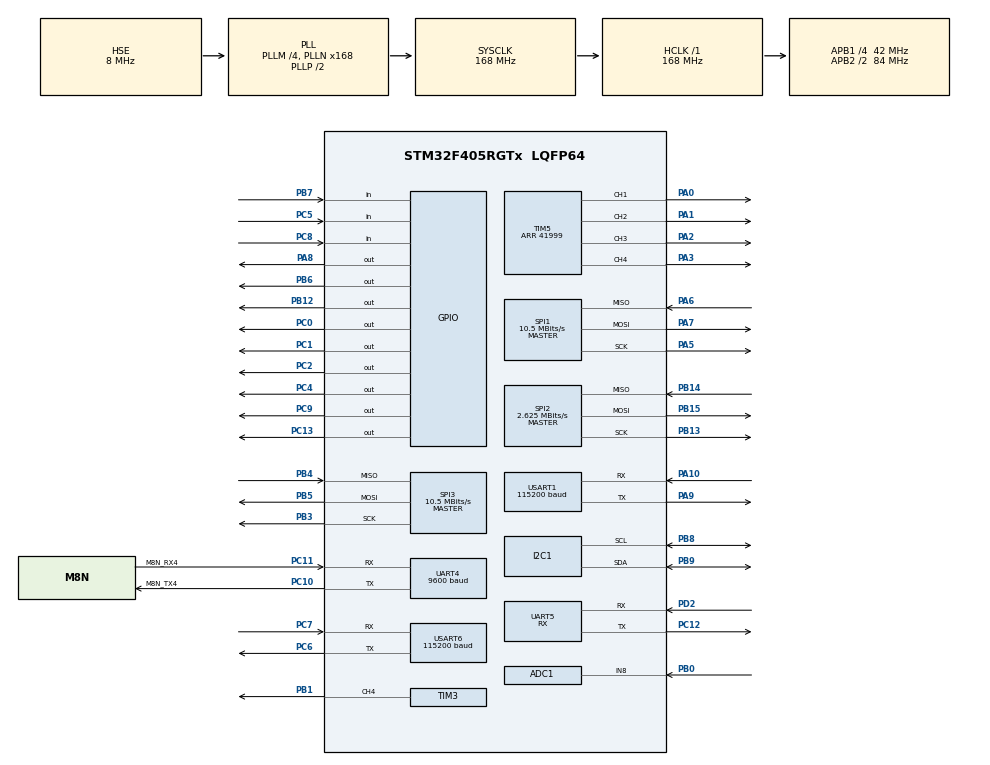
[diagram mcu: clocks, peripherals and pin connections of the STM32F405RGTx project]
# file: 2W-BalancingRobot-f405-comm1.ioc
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ADC1.Channel-0\#ChannelRegularConversion=ADC_CHANNEL_8
ADC1.ClockPrescaler=ADC_CLOCK_SYNC_PCLK_DIV8
ADC1.ContinuousConvMode=ENABLE
ADC1.DMAContinuousRequests=ENABLE
ADC1.NbrOfConversionFlag=1
ADC1.Rank-0\#ChannelRegularConversion=1
ADC1.SamplingTime-0\#ChannelRegularConversion=ADC_SAMPLETIME_480CYCLES
ADC1.master=1
Dma.ADC1.0.Direction=DMA_PERIPH_TO_MEMORY
Dma.ADC1.0.FIFOMode=DMA_FIFOMODE_DISABLE
Dma.ADC1.0.Instance=DMA2_Stream0
Dma.ADC1.0.MemDataAlignment=DMA_MDATAALIGN_HALFWORD
Dma.ADC1.0.MemInc=DMA_MINC_DISABLE
Dma.ADC1.0.Mode=DMA_CIRCULAR
Dma.ADC1.0.PeriphDataAlignment=DMA_PDATAALIGN_HALFWORD
Dma.ADC1.0.PeriphInc=DMA_PINC_DISABLE
Dma.ADC1.0.Priority=DMA_PRIORITY_LOW
Dma.Request0=ADC1
I2C1.I2C_Mode=I2C_Fast
Mcu.Family=STM32F4
Mcu.Name=STM32F405RGTx
Mcu.Package=LQFP64
NVIC.DMA2_Stream0_IRQn=true\:0\:0\:false\:false\:true\:false\:true
NVIC.PriorityGroup=NVIC_PRIORITYGROUP_4
NVIC.TIM7_IRQn=true\:0\:0\:false\:false\:true\:true\:true
NVIC.UART4_IRQn=true\:0\:0\:false\:false\:true\:true\:true
NVIC.UART5_IRQn=true\:0\:0\:false\:false\:true\:true\:true
NVIC.USART1_IRQn=true\:0\:0\:false\:false\:true\:true\:true
NVIC.USART6_IRQn=true\:0\:0\:false\:false\:true\:true\:true
PA0-WKUP.Signal=S_TIM5_CH1
PA1.Signal=S_TIM5_CH2
PA10.Mode=Asynchronous
PA10.Signal=USART1_RX
PA2.Signal=S_TIM5_CH3
PA3.Signal=S_TIM5_CH4
PA5.Mode=Full_Duplex_Master
PA5.Signal=SPI1_SCK
PA6.Mode=Full_Duplex_Master
PA6.Signal=SPI1_MISO
PA7.Mode=Full_Duplex_Master
PA7.Signal=SPI1_MOSI
PA8.Signal=GPIO_Output
PA9.Mode=Asynchronous
PA9.Signal=USART1_TX
PB0.Signal=ADCx_IN8
PB1.Signal=S_TIM3_CH4
PB12.Signal=GPIO_Output
PB13.Mode=Full_Duplex_Master
PB13.Signal=SPI2_SCK
PB14.Mode=Full_Duplex_Master
PB14.Signal=SPI2_MISO
PB15.Mode=Full_Duplex_Master
PB15.Signal=SPI2_MOSI
PB3.Mode=Full_Duplex_Master
PB3.Signal=SPI3_SCK
PB4.Mode=Full_Duplex_Master
PB4.Signal=SPI3_MISO
PB5.Mode=Full_Duplex_Master
PB5.Signal=SPI3_MOSI
PB6.Signal=GPIO_Output
PB7.Signal=GPIO_Input
PB8.Mode=I2C
PB8.Signal=I2C1_SCL
PB9.Mode=I2C
PB9.Signal=I2C1_SDA
PC0.Signal=GPIO_Output
PC1.Signal=GPIO_Output
PC10.GPIO_Label=M8N_TX4
PC10.Mode=Asynchronous
PC10.Signal=UART4_TX
PC11.GPIO_Label=M8N_RX4
PC11.Mode=Asynchronous
PC11.Signal=UART4_RX
PC12.Mode=Asynchronous
PC12.Signal=UART5_TX
PC13-ANTI_TAMP.PinState=GPIO_PIN_SET
PC13-ANTI_TAMP.Signal=GPIO_Output
PC2.Signal=GPIO_Output
PC4.Signal=GPIO_Output
PC5.Signal=GPIO_Input
PC6.Mode=Asynchronous
PC6.Signal=USART6_TX
PC7.Mode=Asynchronous
PC7.Signal=USART6_RX
PC8.Signal=GPIO_Input
PC9.Signal=GPIO_Output
PD2.Mode=Asynchronous
PD2.Signal=UART5_RX
PH0-OSC_IN.Mode=HSE-External-Oscillator
PH0-OSC_IN.Signal=RCC_OSC_IN
PH1-OSC_OUT.Mode=HSE-External-Oscillator
PH1-OSC_OUT.Signal=RCC_OSC_OUT
ProjectManager.HeapSize=0x200
ProjectManager.StackSize=0x400
ProjectManager.TargetToolchain=STM32CubeIDE
RCC.48MHZClocksFreq_Value=84000000
RCC.AHBFreq_Value=168000000
RCC.APB1CLKDivider=RCC_HCLK_DIV4
RCC.APB1Freq_Value=42000000
RCC.APB1TimFreq_Value=84000000
RCC.APB2CLKDivider=RCC_HCLK_DIV2
RCC.APB2Freq_Value=84000000
RCC.APB2TimFreq_Value=168000000
RCC.CortexFreq_Value=168000000
RCC.HCLKFreq_Value=168000000
RCC.HSE_VALUE=8000000
RCC.HSI_VALUE=16000000
RCC.LSE_VALUE=32768
RCC.PLLM=4
RCC.PLLN=168
RCC.PLLSourceVirtual=RCC_PLLSOURCE_HSE
RCC.SYSCLKFreq_VALUE=168000000
RCC.SYSCLKSource=RCC_SYSCLKSOURCE_PLLCLK
RCC.VCOOutputFreq_Value=336000000
SH.ADCx_IN8.0=ADC1_IN8,IN8
SH.S_TIM3_CH4.0=TIM3_CH4,PWM Generation4 CH4
SH.S_TIM5_CH1.0=TIM5_CH1,PWM Generation1 CH1
SH.S_TIM5_CH2.0=TIM5_CH2,PWM Generation2 CH2
SH.S_TIM5_CH3.0=TIM5_CH3,PWM Generation3 CH3
SH.S_TIM5_CH4.0=TIM5_CH4,PWM Generation4 CH4
SPI1.BaudRatePrescaler=SPI_BAUDRATEPRESCALER_8
SPI1.CLKPhase=SPI_PHASE_2EDGE
SPI1.CLKPolarity=SPI_POLARITY_HIGH
SPI1.CalculateBaudRate=10.5 MBits/s
SPI1.Direction=SPI_DIRECTION_2LINES
SPI1.Mode=SPI_MODE_MASTER
SPI1.VirtualType=VM_MASTER
SPI2.BaudRatePrescaler=SPI_BAUDRATEPRESCALER_16
SPI2.CLKPhase=SPI_PHASE_2EDGE
SPI2.CLKPolarity=SPI_POLARITY_HIGH
SPI2.CalculateBaudRate=2.625 MBits/s
SPI2.Direction=SPI_DIRECTION_2LINES
SPI2.Mode=SPI_MODE_MASTER
SPI2.VirtualType=VM_MASTER
SPI3.BaudRatePrescaler=SPI_BAUDRATEPRESCALER_4
SPI3.CLKPhase=SPI_PHASE_2EDGE
SPI3.CLKPolarity=SPI_POLARITY_HIGH
SPI3.CalculateBaudRate=10.5 MBits/s
SPI3.Direction=SPI_DIRECTION_2LINES
SPI3.Mode=SPI_MODE_MASTER
SPI3.VirtualType=VM_MASTER
TIM3.AutoReloadPreload=TIM_AUTORELOAD_PRELOAD_ENABLE
TIM3.Channel-PWM\ Generation4\ CH4=TIM_CHANNEL_4
TIM3.OCFastMode_PWM-PWM\ Generation4\ CH4=TIM_OCFAST_ENABLE
TIM3.Period=20
TIM3.Prescaler=999
TIM3.Pulse-PWM\ Generation4\ CH4=10
TIM5.AutoReloadPreload=TIM_AUTORELOAD_PRELOAD_ENABLE
TIM5.Channel-PWM\ Generation1\ CH1=TIM_CHANNEL_1
TIM5.Channel-PWM\ Generation2\ CH2=TIM_CHANNEL_2
TIM5.Channel-PWM\ Generation3\ CH3=TIM_CHANNEL_3
TIM5.Channel-PWM\ Generation4\ CH4=TIM_CHANNEL_4
TIM5.OCFastMode_PWM-PWM\ Generation1\ CH1=TIM_OCFAST_ENABLE
TIM5.OCFastMode_PWM-PWM\ Generation2\ CH2=TIM_OCFAST_ENABLE
TIM5.OCFastMode_PWM-PWM\ Generation3\ CH3=TIM_OCFAST_ENABLE
TIM5.OCFastMode_PWM-PWM\ Generation4\ CH4=TIM_OCFAST_ENABLE
TIM5.Period=41999
TIM5.Pulse-PWM\ Generation1\ CH1=0
TIM5.Pulse-PWM\ Generation2\ CH2=0
TIM5.Pulse-PWM\ Generation3\ CH3=0
TIM7.AutoReloadPreload=TIM_AUTORELOAD_PRELOAD_ENABLE
TIM7.Period=1
TIM7.Prescaler=41999
UART4.BaudRate=9600
UART4.VirtualMode=Asynchronous
UART5.Mode=MODE_RX
UART5.VirtualMode=Asynchronous
USART1.BaudRate=115200
USART1.VirtualMode=VM_ASYNC
USART6.BaudRate=115200
USART6.VirtualMode=VM_ASYNC
VP_TIM3_VS_ClockSourceINT.Mode=Internal
VP_TIM5_VS_ClockSourceINT.Mode=Internal
VP_TIM7_VS_ClockSourceINT.Mode=Enable_Timer
board=custom

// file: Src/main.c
/* USER CODE BEGIN Header */
/**
  ******************************************************************************
  * @file           : main.c
  * @brief          : Main program body
  ******************************************************************************
  * @attention
  *
  * <h2><center>&copy; Copyright (c) 2019 STMicroelectronics.
  * All rights reserved.</center></h2>
  *
  * This software component is licensed by ST under BSD 3-Clause license,
  * the "License"; You may not use this file except in compliance with the
  * License. You may obtain a copy of the License at:
  *                        opensource.org/licenses/BSD-3-Clause
  *
  ******************************************************************************
  */
/* USER CODE END Header */

#include "main.h"
#include "adc.h"
#include "dma.h"
#include "i2c.h"
#include "spi.h"
#include "tim.h"
#include "usart.h"
#include "gpio.h"

/* USER CODE BEGIN Includes */
#include <string.h>
#include "bno080.h"
#include "quaternion.h"
#include "ICM20602.h"
//#include "LPS22HH.h"
//#include "M8N.h"
#include "FS-iA6B.h"
//#include "AT24C08.h"
#include "EEPROM.h"
#include "MSP.h"
#include "IMU.h"
#include "Sensors.h"

/* USER CODE END Includes */

/* USER CODE BEGIN PTD */
int _write(int file, uint8_t* p, int len)
{
//	for (int i=0; i < len; i++)
//	{
//		while(!LL_USART_IsActiveFlag_TXE(USART6));
//		LL_USART_TransmitData8(USART6, *(p+i));
//	};

	HAL_UART_Transmit(&huart6, p, len, 10);
	return len;
}
/* USER CODE END PTD */

/* USER CODE BEGIN PV */
//uint8_t uart2_rx_data;
uint8_t msp_rx_buf[TX_BUFFER_SIZE];
uint8_t msp_rx_cplt_flag;

uint8_t msp_tx_buf[TX_BUFFER_SIZE];
uint8_t msp_tx_buf1[TX_BUFFER_SIZE];
uint8_t msp_tx_size = 0;
uint8_t msp_tx_cplt_flag = 0;

uint8_t g_msp_tx_buf[TX_BUFFER_SIZE];
uint8_t g_msp_tx_size = 0;
uint8_t g_msp_tx_cplt_flag = 0;

uint8_t inBuf[INBUF_SIZE];
//uint8_t checksum;
uint8_t indRX;
uint8_t cmdMSP;

uint16_t recvDelayCnt=0;
uint16_t sendDelayCnt=0;

uint8_t uart6_tx_flag = 0;

extern uint8_t uart6_rx_flag;
extern uint8_t uart6_rx_data;

extern uint8_t m8n_rx_buf[36];
extern uint8_t m8n_rx_cplt_flag;

extern uint8_t ibus_rx_buf[32];
extern uint8_t ibus_rx_flag;

extern uint8_t uart1_rx_data;

extern uint8_t tim7_1ms_flag;
extern uint8_t tim7_20ms_flag;

float pitch_in_kp;
float pitch_in_ki;
float pitch_in_kd;

float pitch_out_kp = 0;
float pitch_out_ki = 0;
float pitch_out_kd = 0;

/* USER CODE END PV */

void SystemClock_Config(void);
/* USER CODE BEGIN PFP */
void annexCode(void);
int Is_iBus_Throttle_Min(void);
void ESC_Calibration(void);
int Is_iBus_Received(void);
void BNO080_Calibration(void);
/* USER CODE END PFP */

/* USER CODE BEGIN 0 */
/*********** RC alias *****************/

const char pidnames[] =
  "SPEED;"
  "ANGLE;"
  //"YAW;"
  "ALT;"
  "Pos;"
  "PosR;"
  "NavR;"
  //"LEVEL;"
  "MAG;"
  "VEL;"
;

const char boxnames[] = // names for dynamic generation of config GUI
  "ARM;"
  #if ACC
    "SIMPLE;"
    "RISE;"
    "POS HOLD;"
  #endif
  #if defined(BUZZER)
    "BEEPER;"
  #endif
;

const uint8_t boxids[] = {// permanent IDs associated to boxes. This way, you can rely on an ID number to identify a BOX function.
  0, //"ARM;"
  #if ACC
    1, //"SIMPLE;"
    2, //"RISE;"
    3, //"POS HOLD;"
  #endif
  #if defined(BUZZER)
    13, //"BEEPER;"
  #endif
};

uint8_t cmdMSP_tbl1[8] = {100, 116, 111, 112, 115, 113, 114, 120};
uint8_t cmdMSP_tbl2[8] = {101, 102, 103, 104, 105, 254, 108, 109};
uint8_t cmd_index = 0;
uint8_t first_com_flag = 1;

uint8_t DRIVER_PIN[5] = {5,6,7,8,4};   //STEP1 (PORTD 5), STEP2 (PORTD 6), DIR1 (PORTD 7), DIR2 (PORTB 0), ENABLE

uint32_t currentTime = 0;
uint16_t previousTime = 0;
uint16_t cycleTime = 0;     // this is the number in micro second to achieve a full loop, it can differ a little and is taken into account in the PID loop
uint16_t calibratingA = 0;  // the calibration is done in the main loop. Calibrating decreases at each cycle down to 0, then we enter in a normal mode.
uint16_t calibratingB = 0;  // baro calibration = get new ground pressure value
uint16_t calibratingG;
int16_t  magHold,headFreeModeHold; // [-180;+180]
uint8_t  vbatMin = VBATNOMINAL;  // lowest battery voltage in 0.1V steps
uint8_t  rcOptions[CHECKBOXITEMS];
// **************
// gyro+acc IMU
// **************
int16_t gyroZero[3] = {0,0,0};

imu_t imu;

analog_t analog;

alt_t alt;

att_t att;

int16_t  debug[4];

flags_struct_t f;

int16_t  i2c_errors_count = 0;
int16_t  annex650_overrun_count = 0;

uint16_t intPowerTrigger1;

// ******************
// rc functions
// ******************
#define ROL_LO  (1<<(2*ROLL))
#define ROL_CE  (3<<(2*ROLL))
#define ROL_HI  (2<<(2*ROLL))
#define PIT_LO  (1<<(2*PITCH))
#define PIT_CE  (3<<(2*PITCH))
#define PIT_HI  (2<<(2*PITCH))
#define YAW_LO  (1<<(2*YAW))
#define YAW_CE  (3<<(2*YAW))
#define YAW_HI  (2<<(2*YAW))
#define THR_LO  (1<<(2*THROTTLE))
#define THR_CE  (3<<(2*THROTTLE))
#define THR_HI  (2<<(2*THROTTLE))

int16_t rcData[RC_CHANS];    // interval [1000;2000]
int16_t rcSerial[8];         // interval [1000;2000] - is rcData coming from MSP
int16_t rcCommand[4];        // interval [1000;2000] for THROTTLE and [-500;+500] for ROLL/PITCH/YAW
uint8_t rcSerialCount = 0;   // a counter to select legacy RX when there is no more MSP rc serial data
int16_t lookupPitchRollRC[5];// lookup table for expo & RC rate PITCH+ROLL
int16_t lookupThrottleRC[11];// lookup table for expo & mid THROTTLE

static float accLPF[3] = {0, 0, ACC_1G};
#ifndef ACC_LPF_FACTOR
  #define ACC_LPF_FACTOR 120.0f
#endif

// *************************
// motor and servo functions
// *************************
//int16_t output;
int16_t motor[2];

int16_t actualMotorSpeed[2]={120,250};     // actual speed of motors
uint8_t actualMotorDir[2];       // actual direction of steppers motors

int16_t actualSpeed;     // actual speed of robot

// ************************
// EEPROM Layout definition
// ************************
static uint8_t dynP8[2], dynD8[2];

global_conf_t global_conf;

conf_t conf;

  uint8_t alarmArray[16];           // array

/* USER CODE END 0 */

int main(void)
{
  /* USER CODE BEGIN 1 */
	float q[4];
	float quatRadianAccuracy;
	unsigned char buf_read[16] = {0};
	unsigned char buf_write[16] = {1,2,3,4,5,6,7,8,9,10,11,12,13,14,15,16};
	unsigned short adcVal;
	float batVolt;
	short gyro_x_offset = 11, gyro_y_offset = 5, gyro_z_offset = -2;
	float prev_BNO080_Roll = 0;
	float prev_BNO080_Pitch = 0;
	float prev_BNO080_Yaw = 0;

	unsigned char motor_arming_flag = 0;
	unsigned short iBus_SwA_Prev = 0;

	float pitch_reference;
	float pitch_p;
	float pitch_error;
	float pitch_i;
	float pitch_error_sum = 0;
	float pitch_derivative;
	float pitch_d;
	float pitch_pid;

  /* USER CODE END 1 */

  /* MCU Configuration--------------------------------------------------------*/

  /* Reset of all peripherals, Initializes the Flash interface and the Systick. */
  HAL_Init();

  /* Configure the system clock */
  SystemClock_Config();

  /* Initialize all configured peripherals */
  MX_GPIO_Init();
  MX_DMA_Init();
  MX_TIM3_Init();
  MX_USART6_UART_Init();
  MX_SPI2_Init();
  MX_SPI1_Init();
  MX_SPI3_Init();
  MX_UART4_Init();
  MX_UART5_Init();
  MX_TIM5_Init();
  MX_I2C1_Init();
  MX_ADC1_Init();
  MX_USART1_UART_Init();
  MX_TIM7_Init();
  /* USER CODE BEGIN 2 */
 // LL_TIM_EnableCounter(TIM3);

//  LL_USART_EnableIT_RXNE(USART6);
 // LL_USART_EnableIT_RXNE(UART4);
  LL_USART_EnableIT_RXNE(UART5);

  BNO080_Initialization();
  BNO080_enableRotationVector(2500);

  ICM20602_Initialization();

//  initSensors();

//  LPS22HH_Initialization();
//  M8N_Initialization();
  FSiA6B_UART5_Initialization();

/*  LL_TIM_EnableCounter(TIM5);
  LL_TIM_CC_EnableChannel(TIM5, LL_TIM_CHANNEL_CH1);
  LL_TIM_CC_EnableChannel(TIM5, LL_TIM_CHANNEL_CH2);
  LL_TIM_CC_EnableChannel(TIM5, LL_TIM_CHANNEL_CH3);
  LL_TIM_CC_EnableChannel(TIM5, LL_TIM_CHANNEL_CH4);
*/
  HAL_ADC_Start_DMA(&hadc1, &adcVal, 1);

//  HAL_UART_Receive_IT(&huart1, &uint1_rx_data, 1);
  HAL_UART_Receive_IT(&huart6, &uart6_rx_data, 1);

  LL_TIM_EnableCounter(TIM7);
  LL_TIM_EnableIT_UPDATE(TIM7);

  ICM20602_Writebyte(0x13, (gyro_x_offset*-2)>>8);
  ICM20602_Writebyte(0x14, (gyro_x_offset*-2));

  ICM20602_Writebyte(0x15, (gyro_y_offset*-2)>>8);
  ICM20602_Writebyte(0x16, (gyro_y_offset*-2));

  ICM20602_Writebyte(0x17, (gyro_z_offset*-2)>>8);
  ICM20602_Writebyte(0x18, (gyro_z_offset*-2));

  LoadDefaults();

//    char somedata[] = "this is data from the eeprom!1234567890abcdefghijklmnopqrstubwxyzABCDEFGHIJKLMNOPQRSTUVWXYaaaaaaaaaabbbbbbbbbbccccccccccddddddddddeeeeeeeeeeffffffffffgggggggggghhhhhhhhhhiiiiiiiiiijjjjjjjjjjkkkkkkkkkkllllllllllmmmmmmmmmmnnnnnnnnnnooooooooooppppppppppqqqqqqqqqqrrrrrrrrrrssssssssssttttttttttuuuuuuuuuuvvvvvvvvvvwwwwwwwwwwxxxxxxxxxxyyyyyyyyyyzzzzzzzzzzAAAAAAAAAABBBBBBBBBBCCCCCCCCCCDDDDDDDDDDEEEEEEEEEEFFFFFFFFFFGGGGGGGGGGHHHHHHHHHHIIIIIIIIIIJJJJJJJJJJKKKKKKKKKKLLLLLLLLLLMMMMMMMMMMNNNNNNNNNNOOOOOOOOOOPPPPPPPPPPQQQQQQQQQQRRRRRRRRRRSSSSSSSSSSTTTTTTTTTTUUUUUUUUUUVVVVVVVVVVWWWWWWWWWWXXXXXXXXXXYYYYYYYYYYZZZZZZZZZZ1111111111222222222233333333334444444444555555555566666666667777777777888888888899999999990000000000!!!!!!!!!!@@@@@@@@@@##########$$$$$$$$$$%%%%%%%%%%^^^^^^^^^^&&&&&&&&&&**********(((((((((())))))))))__________++++++++++----------==========//////////,,,,,,,,,,..........;;;;;;;;;;''''''''''::::::::::<<<<<<<<<<>>>>>>>>>>??????????~~~~~~~~~~aaaaabbbbbcccccdddddeeeeefffffggggghhhhhiiiiijjjjjkkkkklllllmmmmmnnnnnooooopppppqqqqqrrrrrssssstttttuuuuuvvvvvwwwwwxxxxxyyyyyzzzzz"; // data to write
//    char buff[1200] = {0};
//
//    AT24C16_write_block(0, sizeof(somedata), (uint8_t*)&somedata[0]);
//    // Read array with bytes read from EEPROM memory.
//    AT24C16_read_block(270, 126, (uint8_t*)&buff[0]);

  //  writeGlobalSet(0);
    readGlobalSet();
  //  #ifdef MULTIPLE_CONFIGURATION_PROFILES
      global_conf.currentSet=2;
  //  #endif
    while(1) {                                                    // check settings integrity
      readEEPROM();                                               // check current setting integrity
      if(global_conf.currentSet == 0) break;                      // all checks is done
      global_conf.currentSet--;                                   // next setting for check
    }
    readGlobalSet();                              // reload global settings for get last profile number
    readEEPROM();                                 // load setting data from last used profile
  //  blinkLED(2,40,global_conf.currentSet+1);
  //  configureReceiver();

    initSensors();

   //  MPU6050_Init();
  //  previousTime = HAL_GetTick() * 1000;	//micros();
    #if defined(GIMBAL)
     calibratingA = 512;
    #endif
    calibratingG = 512;
    calibratingB = 200;  // 10 seconds init_delay + 200 * 25 ms = 15 seconds before ground pressure settles
  //  debugmsg_append_str("initialization completed\n");

//  while(Is_iBus_Received() == 0)
//  {
//	  LL_TIM_CC_EnableChannel(TIM3, LL_TIM_CHANNEL_CH4);
//
//	  TIM3->PSC = 3000;
//	  HAL_Delay(200);
//	  LL_TIM_CC_DisableChannel(TIM3, LL_TIM_CHANNEL_CH4);
//	  HAL_Delay(200);
//  }
//
//  if(iBus.SwC == 2000)
//  {
//	  LL_TIM_CC_EnableChannel(TIM3, LL_TIM_CHANNEL_CH4);
//
//	  TIM3->PSC = 1500;
//	  HAL_Delay(200);
//	  TIM3->PSC = 2000;
//	  HAL_Delay(200);
//	  TIM3->PSC = 1500;
//	  HAL_Delay(200);
//	  TIM3->PSC = 2000;
//	  HAL_Delay(200);
//	  LL_TIM_CC_DisableChannel(TIM3, LL_TIM_CHANNEL_CH4);
//	  HAL_Delay(200);
//
//	  ESC_Calibration();
//	  while(iBus.SwC != 1000)
//	  {
//		  Is_iBus_Received();
//		  LL_TIM_CC_EnableChannel(TIM3, LL_TIM_CHANNEL_CH4);
//
//		  TIM3->PSC = 1500;
//		  HAL_Delay(200);
//		  TIM3->PSC = 2000;
//		  HAL_Delay(200);
//		  LL_TIM_CC_DisableChannel(TIM3, LL_TIM_CHANNEL_CH4);
//	  }
//  }
//  else if(iBus.SwC == 1500)
//  {
//	  LL_TIM_CC_EnableChannel(TIM3, LL_TIM_CHANNEL_CH4);
//
//	  TIM3->PSC = 1500;
//	  HAL_Delay(200);
//	  TIM3->PSC = 2000;
//	  HAL_Delay(200);
//	  TIM3->PSC = 1500;
//	  HAL_Delay(200);
//	  TIM3->PSC = 2000;
//	  HAL_Delay(200);
//	  LL_TIM_CC_DisableChannel(TIM3, LL_TIM_CHANNEL_CH4);
//	  HAL_Delay(200);
//
//	  BNO080_Calibration();
//	  while(iBus.SwC != 1000)
//	  {
//		  Is_iBus_Received();
//		  LL_TIM_CC_EnableChannel(TIM3, LL_TIM_CHANNEL_CH4);
//
//		  TIM3->PSC = 1500;
//		  HAL_Delay(200);
//		  TIM3->PSC = 2000;
//		  HAL_Delay(200);
//		  LL_TIM_CC_DisableChannel(TIM3, LL_TIM_CHANNEL_CH4);
//	  }
//
//  }
//
//  while(Is_iBus_Throttle_Min() == 0)
//  {
//	  LL_TIM_CC_EnableChannel(TIM3, LL_TIM_CHANNEL_CH4);
//
//	  TIM3->PSC = 1000;
//	  HAL_Delay(70);
//	  LL_TIM_CC_DisableChannel(TIM3, LL_TIM_CHANNEL_CH4);
//	  HAL_Delay(70);
//
//  }

////  EP_PIDGain_Write(0, 1.1, 2.2, 3.3);
//  float p = 0.0, i = 0.0, d = 0.0;
//  EP_PIDGain_Read(0, &p, &i, &d);
//
//  printf("%f, %f, %f", p, i, d);
/*
  LL_TIM_CC_EnableChannel(TIM3, LL_TIM_CHANNEL_CH4);

  TIM3->PSC = 2000;
  HAL_Delay(100);
  TIM3->PSC = 1500;
  HAL_Delay(100);
  TIM3->PSC = 1000;
  HAL_Delay(100);

  LL_TIM_CC_DisableChannel(TIM3, LL_TIM_CHANNEL_CH4);

  printf("start\n");
*/
  /* USER CODE END 2 */

  /* Infinite loop */
  while (1)
  {

    /* USER CODE BEGIN 3 */

	if(ibus_rx_flag == 1)
	{
		ibus_rx_flag = 0;
	  if(iBus_Check_CHECKSUM(&ibus_rx_buf[0], 32) == 1)
	  {
		  LL_GPIO_TogglePin(GPIOC, LL_GPIO_PIN_2);

		  iBus_Parsing(&ibus_rx_buf[0], &iBus);
//		  if(iBus_isActiveFailsafe(&iBus) == 1)
//		  {
//			  LL_TIM_CC_EnableChannel(TIM3, LL_TIM_CHANNEL_CH4);
//		  }
//		  else
//		  {
//			  LL_TIM_CC_DisableChannel(TIM3, LL_TIM_CHANNEL_CH4);
//		  }
	//			  printf("%d\t%d\t%d\t%d\t%d\t%d\n",
	//					  iBus.RH, iBus.RV, iBus.LV, iBus.LH, iBus.SwA, iBus.SwC);
	//			  HAL_Delay(100);
	  }
	}

		if (recvDelayCnt++ >= 50000)
		{
			recvDelayCnt = 0;
			HAL_UART_Receive_IT(&huart6, &uart6_rx_data, 1);
		}

		if(tim7_1ms_flag == 1)
		{
		  tim7_1ms_flag = 0;

//		  pitch_reference = (iBus.RV - 1500) * 0.1f;
//		  pitch_error = pitch_reference - BNO080_Pitch;
//		  pitch_p = pitch_error * pitch_out_kp;
//
//		  pitch_error_sum = pitch_error_sum + pitch_error * 0.001;
//		  if(motor_arming_flag == 0 || iBus.LV < 1030) pitch_error_sum = 0;
//		  pitch_i = pitch_error_sum * pitch_out_ki;
//
////		  pitch_derivative = (BNO080_Pitch - BNO080_Pitch_Prev) / 0.001;
////		  BNO080_Pitch_Prev = BNO080_Pitch;
//
//		  pitch_derivative = ICM20602.gyro_x;
//		  pitch_d = -pitch_derivative * pitch_out_kd;
//
//		  pitch_pid = pitch_p + pitch_i + pitch_d;
//

//		  for (uint8_t axis = 0; axis < 3; axis++) {
//			  accLPF[axis] = accLPF[axis] * (1.0f - (1.0f/ACC_LPF_FACTOR)) + imu.accADC[axis] * (1.0f/ACC_LPF_FACTOR);
//			  imu.accSmooth[axis] = accLPF[axis];
//		  }

		  imu.accSmooth[ROLL]  = (short)BNO080_Roll*6.4;	//(((prev_BNO080_Roll + BNO080_Roll)/2) * 6.4);
		  imu.accSmooth[PITCH] = (short)BNO080_Pitch*5.7;	//(((prev_BNO080_Pitch + BNO080_Pitch)/2) *  5.8);
		  imu.accSmooth[YAW]   = (short)BNO080_Yaw*2.3;	//(((prev_BNO080_Yaw + BNO080_Yaw)/2) * 2);

		  prev_BNO080_Roll = BNO080_Roll;
		  prev_BNO080_Pitch = BNO080_Pitch;
		  prev_BNO080_Yaw = BNO080_Yaw;

		  att.angle[ROLL]  = (short)(BNO080_Roll * 10);
		  att.angle[PITCH]  = (short)(BNO080_Pitch * 10);
		  att.heading  = (short)(0);	//BNO080_Yaw);

		}

		if(tim7_20ms_flag == 1)
		{
			tim7_20ms_flag = 0;
			annexCode();
		}

		if(iBus.SwA == 2000 && iBus_SwA_Prev != 2000)
		{
		  if(iBus.LV < 1010)
		  {
			  motor_arming_flag = 1;
		  }
		  else
		  {
//			  LL_TIM_CC_EnableChannel(TIM3, LL_TIM_CHANNEL_CH4);
//
//			  TIM3->PSC = 1000;
//			  HAL_Delay(70);
//			  LL_TIM_CC_DisableChannel(TIM3, LL_TIM_CHANNEL_CH4);
//			  HAL_Delay(70);
		  }
		}
		iBus_SwA_Prev = iBus.SwA;

		if(iBus.SwA != 2000)
		{
		  motor_arming_flag = 0;
		}

		if (msp_rx_cplt_flag)
		{
			msp_rx_cplt_flag = 0;
			evaluateCommand();

		}
		if(msp_tx_cplt_flag)
		{
			if((g_msp_tx_size + msp_tx_size) < TX_BUFFER_SIZE)
			{
				msp_tx_cplt_flag = 0;
				memcpy(&g_msp_tx_buf[g_msp_tx_size],&msp_tx_buf[0],msp_tx_size);
				g_msp_tx_size += msp_tx_size;
				g_msp_tx_cplt_flag = 1;
			}
		}

		if(g_msp_tx_cplt_flag == 1)	//huart6.gState == HAL_UART_STATE_READY)
		{
			if(uart6_tx_flag == 0 || sendDelayCnt++ >= 10000)
			{
				uart6_tx_flag = 1;
				memcpy(&msp_tx_buf1[0],&g_msp_tx_buf[0],g_msp_tx_size);
				if(HAL_UART_Transmit_IT(&huart6, &msp_tx_buf1[0], g_msp_tx_size) != HAL_OK)
				{
				}
				g_msp_tx_size = 0;
				g_msp_tx_cplt_flag = 0;
				sendDelayCnt = 0;
			}

		}

	    computeRC();

//	    computeIMU();

	    batVolt = adcVal * 0.003619f;
	    analog.vbat = (uint8_t)(batVolt * 10);	//((adcVal<<4) / conf.vbatscale); // result is Vbatt in 0.1V steps
	  /* //printf("%d\t%.2f\n", adcVal, batVolt);
	  if(batVolt < 10.0f)
	  {
		  TIM3->PSC = 1000;
		  LL_TIM_CC_EnableChannel(TIM3, LL_TIM_CHANNEL_CH4);
	  }
	  else
	  {
		  LL_TIM_CC_DisableChannel(TIM3, LL_TIM_CHANNEL_CH4);
	  }
*/
	  if(BNO080_dataAvailable() == 1)
	  {
		  LL_GPIO_TogglePin(GPIOC, LL_GPIO_PIN_0);

		  q[0] = BNO080_getQuatI();
		  q[1] = BNO080_getQuatJ();
		  q[2] = BNO080_getQuatK();
		  q[3] = BNO080_getQuatReal();
		  quatRadianAccuracy = BNO080_getQuatRadianAccuracy();

		  Quaternion_Update(&q[0]);

		  BNO080_Roll = -BNO080_Roll;
		  BNO080_Pitch = -BNO080_Pitch;

		  imu.accADC[ROLL]  = (short)BNO080_Roll*10;	//-(short)(q[0]);
		  imu.accADC[PITCH] = (short)BNO080_Pitch*10;	//-(short)(q[1]);
		  imu.accADC[YAW]   = (short)BNO080_Yaw*10;		//(short)(q[2]);

		  //printf("%.2f\t%.2f\n", BNO080_Roll, BNO080_Pitch);
		  //printf("%d, %d, %d\n", (int)(BNO080_Roll*100), (int)(BNO080_Pitch*100),(int)(BNO080_Yaw*100));
	  }

//	  HAL_Delay(1);

	  if(ICM20602_DataReady() == 1)
	  {
		  LL_GPIO_TogglePin(GPIOC, LL_GPIO_PIN_1);

		  ICM20602_Get3AxisGyroRawData(&ICM20602.gyro_x_raw);

		  ICM20602.gyro_x = ICM20602.gyro_x_raw * 2000.f /32768.f;
		  ICM20602.gyro_y = ICM20602.gyro_y_raw * 2000.f /32768.f;
		  ICM20602.gyro_z = ICM20602.gyro_z_raw * 2000.f /32768.f;

		  ICM20602.gyro_x = -ICM20602.gyro_x;
		  ICM20602.gyro_z = -ICM20602.gyro_z;

		  imu.gyroADC[ROLL]  = (short)(ICM20602.gyro_y * 10);	//ICM20602.gyro_y_raw;	//gyro_y;
		  imu.gyroADC[PITCH] = (short)(ICM20602.gyro_x * 10);	//ICM20602.gyro_x_raw;	//gyro_x;
		  imu.gyroADC[YAW]   = (short)(ICM20602.gyro_z * 10);	//ICM20602.gyro_z_raw;	//gyro_z;

		  imu.gyroData[ROLL]  = imu.gyroADC[ROLL];
		  imu.gyroData[PITCH] = imu.gyroADC[PITCH];
		  imu.gyroData[YAW]   = imu.gyroADC[YAW];

//		  printf("%d, %d, %d\n", ICM20602.gyro_x_raw, ICM20602.gyro_y_raw, ICM20602.gyro_z_raw);
//		  printf("%d, %d, %d\n", (int)(ICM20602.gyro_x * 100), (int)(ICM20602.gyro_y * 100), (int)(ICM20602.gyro_z * 100));
	  }

//	  if(LPS22HH_DataReady() == 1)
//	  {
//		  LPS22HH_GetPressure(&LPS22HH.pressure_raw);
//		  LPS22HH_GetTemperature(&LPS22HH.temperature_raw);
//
//		  LPS22HH.baroAlt = getAltitude2(LPS22HH.pressure_raw/4096.f, LPS22HH.temperature_raw/100.f);
//
//#define X 0.90f
//		  LPS22HH.baroAltFilt = LPS22HH.baroAltFilt * X + LPS22HH.baroAlt * (1.0f - X);
//
//		  printf("%d, %d\n", (int)(LPS22HH.baroAlt * 100), (int)(LPS22HH.baroAltFilt * 100));
//
//	  }

//	  if(m8n_rx_cplt_flag == 1)
//	  {
//		  m8n_rx_cplt_flag = 0;
//		  if(M8N_UBX_CHKSUM_Check(&m8n_rx_buf[0], 36) == 1)
//		  {
//			  LL_GPIO_TogglePin(GPIOC, LL_GPIO_PIN_2);
//			  M8N_UBX_NAV_POSLLH_Parsing(&m8n_rx_buf[0], &posllh);
//			  printf("LAT: %ld\tLON: %ld\tHeight: %ld\n", posllh.lat, posllh.lon, posllh.height);
//		  }
//	  }

//	  if(ibus_rx_flag == 1)
//  	  {
//		  ibus_rx_flag = 0;
//		  if(iBus_Check_CHECKSUM(&ibus_rx_buf[0], 32) == 1)
//		  {
//			  LL_GPIO_TogglePin(GPIOC, LL_GPIO_PIN_2);
//
//			  iBus_Parsing(&ibus_rx_buf[0], &iBus);
//			  if(iBus_isActiveFailsafe(&iBus) == 1)
//			  {
//				  LL_TIM_CC_EnableChannel(TIM3, LL_TIM_CHANNEL_CH4);
//			  }
//			  else
//			  {
//				  LL_TIM_CC_DisableChannel(TIM3, LL_TIM_CHANNEL_CH4);
//			  }
////			  printf("%d\t%d\t%d\t%d\t%d\t%d\n",
////					  iBus.RH, iBus.RV, iBus.LV, iBus.LH, iBus.SwA, iBus.SwC);
////			  HAL_Delay(100);
//		  }
//  	  }

  }
  /* USER CODE END 3 */
}

void SystemClock_Config(void)
{
  RCC_OscInitTypeDef RCC_OscInitStruct = {0};
  RCC_ClkInitTypeDef RCC_ClkInitStruct = {0};

  /** Configure the main internal regulator output voltage
  */
  __HAL_RCC_PWR_CLK_ENABLE();
  __HAL_PWR_VOLTAGESCALING_CONFIG(PWR_REGULATOR_VOLTAGE_SCALE1);
  /** Initializes the CPU, AHB and APB busses clocks
  */
  RCC_OscInitStruct.OscillatorType = RCC_OSCILLATORTYPE_HSE;
  RCC_OscInitStruct.HSEState = RCC_HSE_ON;
  RCC_OscInitStruct.PLL.PLLState = RCC_PLL_ON;
  RCC_OscInitStruct.PLL.PLLSource = RCC_PLLSOURCE_HSE;
  RCC_OscInitStruct.PLL.PLLM = 4;
  RCC_OscInitStruct.PLL.PLLN = 168;
  RCC_OscInitStruct.PLL.PLLP = RCC_PLLP_DIV2;
  RCC_OscInitStruct.PLL.PLLQ = 4;
  if (HAL_RCC_OscConfig(&RCC_OscInitStruct) != HAL_OK)
  {
    Error_Handler();
  }
  /** Initializes the CPU, AHB and APB busses clocks
  */
  RCC_ClkInitStruct.ClockType = RCC_CLOCKTYPE_HCLK|RCC_CLOCKTYPE_SYSCLK
                              |RCC_CLOCKTYPE_PCLK1|RCC_CLOCKTYPE_PCLK2;
  RCC_ClkInitStruct.SYSCLKSource = RCC_SYSCLKSOURCE_PLLCLK;
  RCC_ClkInitStruct.AHBCLKDivider = RCC_SYSCLK_DIV1;
  RCC_ClkInitStruct.APB1CLKDivider = RCC_HCLK_DIV4;
  RCC_ClkInitStruct.APB2CLKDivider = RCC_HCLK_DIV2;

  if (HAL_RCC_ClockConfig(&RCC_ClkInitStruct, FLASH_LATENCY_5) != HAL_OK)
  {
    Error_Handler();
  }
}

/* USER CODE BEGIN 4 */

void annexCode(void) { // this code is excetuted at each loop and won't interfere with control loop if it lasts less than 650 microseconds
  static uint32_t calibratedAccTime;
  uint16_t tmp,tmp2;
  uint8_t axis,prop1,prop2;

  // PITCH & ROLL only dynamic PID adjustemnt,  depending on throttle value
  prop2 = 128; // prop2 was 100, is 128 now
  if (rcData[THROTTLE]>1500) { // breakpoint is fix: 1500
    if (rcData[THROTTLE]<2000) {
      prop2 -=  ((uint16_t)conf.dynThrPID*(rcData[THROTTLE]-1500)>>9); //  /512 instead of /500
    } else {
      prop2 -=  conf.dynThrPID;
    }
  }

  for(axis=0;axis<3;axis++) {
    tmp = min(abs(rcData[axis]-MIDRC),500);
    #if defined(DEADBAND)
      if (tmp>DEADBAND) { tmp -= DEADBAND; }
      else { tmp=0; }
    #endif
    if(axis!=2) { //ROLL & PITCH
      tmp2 = tmp>>7; // 500/128 = 3.9  => range [0;3]
      rcCommand[axis] = lookupPitchRollRC[tmp2] + ((tmp-(tmp2<<7)) * (lookupPitchRollRC[tmp2+1]-lookupPitchRollRC[tmp2])>>7);
      prop1 = 128-((uint16_t)conf.rollPitchRate*tmp>>9); // prop1 was 100, is 128 now -- and /512 instead of /500
      prop1 = (uint16_t)prop1*prop2>>7; // prop1: max is 128   prop2: max is 128   result prop1: max is 128
      dynP8[axis] = (uint16_t)conf.pid[axis].P8*prop1>>7; // was /100, is /128 now
      dynD8[axis] = (uint16_t)conf.pid[axis].D8*prop1>>7; // was /100, is /128 now
    } else {      // YAW
      rcCommand[axis] = tmp;
    }
    if (rcData[axis]<MIDRC) rcCommand[axis] = -rcCommand[axis];
  }
  tmp = constrain(rcData[THROTTLE],MINCHECK,2000);
  tmp = (uint32_t)(tmp-MINCHECK)*2559/(2000-MINCHECK); // [MINCHECK;2000] -> [0;2559]
  tmp2 = tmp/256; // range [0;9]
  rcCommand[THROTTLE] = lookupThrottleRC[tmp2] + (tmp-tmp2*256) * (lookupThrottleRC[tmp2+1]-lookupThrottleRC[tmp2]) / 256; // [0;2559] -> expo -> [conf.minthrottle;MAXTHROTTLE]

  if(f.HEADFREE_MODE) { //to optimize
    float radDiff = (att.heading - headFreeModeHold) * 0.0174533f; // where PI/180 ~= 0.0174533
    float cosDiff = cos(radDiff);
    float sinDiff = sin(radDiff);
    int16_t rcCommand_PITCH = rcCommand[PITCH]*cosDiff + rcCommand[ROLL]*sinDiff;
    rcCommand[ROLL] =  rcCommand[ROLL]*cosDiff - rcCommand[PITCH]*sinDiff;
    rcCommand[PITCH] = rcCommand_PITCH;
  }
}

int Is_iBus_Throttle_Min(void)
{
	if(ibus_rx_flag == 1)
	{
		ibus_rx_flag = 0;
		if(iBus_Check_CHECKSUM(&ibus_rx_buf[0], 32) == 1)
		{
			iBus_Parsing(&ibus_rx_buf[0], &iBus);
			if(iBus.LV < 1010) return 1;
		}
	}
	return 0;
}

void ESC_Calibration(void)
{
	  TIM5->CCR1 = 21000;
	  TIM5->CCR2 = 21000;
	  TIM5->CCR3 = 21000;
	  TIM5->CCR4 = 21000;
	  HAL_Delay(7000);

	  TIM5->CCR1 = 10500;
	  TIM5->CCR2 = 10500;
	  TIM5->CCR3 = 10500;
	  TIM5->CCR4 = 10500;
	  HAL_Delay(8000);
}

int Is_iBus_Received(void)
{
	if(ibus_rx_flag == 1)
	{
		ibus_rx_flag = 0;
		if(iBus_Check_CHECKSUM(&ibus_rx_buf[0], 32) == 1)
		{
			iBus_Parsing(&ibus_rx_buf[0], &iBus);
			return 1;
		}
	}
	return 0;
}

void BNO080_Calibration(void)
{
	//Resets BNO080 to disable All output
	BNO080_Initialization();

	//BNO080/BNO085 Configuration
	//Enable dynamic calibration for accelerometer, gyroscope, and magnetometer
	//Enable Game Rotation Vector output
	//Enable Magnetic Field output
	BNO080_calibrateAll(); //Turn on cal for Accel, Gyro, and Mag
	BNO080_enableGameRotationVector(20000); //Send data update every 20ms (50Hz)
	BNO080_enableMagnetometer(20000); //Send data update every 20ms (50Hz)

	//Once magnetic field is 2 or 3, run the Save DCD Now command
  	printf("Calibrating BNO080. Pull up FS-i6 SWC to end calibration and save to flash\n");
  	printf("Output in form x, y, z, in uTesla\n\n");

	//while loop for calibration procedure
	//Iterates until iBus.SwC is mid point (1500)
	//Calibration procedure should be done while this loop is in iteration.
	while(iBus.SwC == 1500)
	{
		if(BNO080_dataAvailable() == 1)
		{
			//Observing the status bit of the magnetic field output
			float x = BNO080_getMagX();
			float y = BNO080_getMagY();
			float z = BNO080_getMagZ();
			unsigned char accuracy = BNO080_getMagAccuracy();

			float quatI = BNO080_getQuatI();
			float quatJ = BNO080_getQuatJ();
			float quatK = BNO080_getQuatK();
			float quatReal = BNO080_getQuatReal();
			unsigned char sensorAccuracy = BNO080_getQuatAccuracy();

			printf("%f,%f,%f,", x, y, z);
			if (accuracy == 0) printf("Unreliable\t");
			else if (accuracy == 1) printf("Low\t");
			else if (accuracy == 2) printf("Medium\t");
			else if (accuracy == 3) printf("High\t");

			printf("\t%f,%f,%f,%f,", quatI, quatI, quatI, quatReal);
			if (sensorAccuracy == 0) printf("Unreliable\n");
			else if (sensorAccuracy == 1) printf("Low\n");
			else if (sensorAccuracy == 2) printf("Medium\n");
			else if (sensorAccuracy == 3) printf("High\n");

			//Turn the LED and buzzer on when both accuracy and sensorAccuracy is high
			if(accuracy == 3 && sensorAccuracy == 3)
			{
				LL_GPIO_SetOutputPin(GPIOC, LL_GPIO_PIN_0 | LL_GPIO_PIN_1 | LL_GPIO_PIN_2);
				TIM3->PSC = 65000; //Very low frequency
				LL_TIM_CC_EnableChannel(TIM3, LL_TIM_CHANNEL_CH4);
			}
			else
			{
				LL_GPIO_ResetOutputPin(GPIOC, LL_GPIO_PIN_0 | LL_GPIO_PIN_1 | LL_GPIO_PIN_2);
				LL_TIM_CC_DisableChannel(TIM3, LL_TIM_CHANNEL_CH4);
			}
		}

		Is_iBus_Received(); //Refreshes iBus Data for iBus.SwC
		HAL_Delay(100);
	}

	//Ends the loop when iBus.SwC is not mid point
	//Turn the LED and buzzer off
	LL_GPIO_ResetOutputPin(GPIOC, LL_GPIO_PIN_0 | LL_GPIO_PIN_1 | LL_GPIO_PIN_2);
	LL_TIM_CC_DisableChannel(TIM3, LL_TIM_CHANNEL_CH4);

	//Saves the current dynamic calibration data (DCD) to memory
	//Sends command to get the latest calibration status
	BNO080_saveCalibration();
	BNO080_requestCalibrationStatus();

	//Wait for calibration response, timeout if no response
	int counter = 100;
	while(1)
	{
		if(--counter == 0) break;
		if(BNO080_dataAvailable())
		{
			//The IMU can report many different things. We must wait
			//for the ME Calibration Response Status byte to go to zero
			if(BNO080_calibrationComplete() == 1)
			{
				printf("\nCalibration data successfully stored\n");
				LL_TIM_CC_EnableChannel(TIM3, LL_TIM_CHANNEL_CH4);
				TIM3->PSC = 2000;
				HAL_Delay(300);
				TIM3->PSC = 1500;
				HAL_Delay(300);
				LL_TIM_CC_DisableChannel(TIM3, LL_TIM_CHANNEL_CH4);
				HAL_Delay(1000);
				break;
			}
		}
		HAL_Delay(10);
	}
	if(counter == 0)
	{
		printf("\nCalibration data failed to store. Please try again.\n");
		LL_TIM_CC_EnableChannel(TIM3, LL_TIM_CHANNEL_CH4);
		TIM3->PSC = 1500;
		HAL_Delay(300);
		TIM3->PSC = 2000;
		HAL_Delay(300);
		LL_TIM_CC_DisableChannel(TIM3, LL_TIM_CHANNEL_CH4);
		HAL_Delay(1000);
	}

	//BNO080_endCalibration(); //Turns off all calibration
	//In general, calibration should be left on at all times. The BNO080
	//auto-calibrates and auto-records cal data roughly every 5 minutes

	//Resets BNO080 to disable Game Rotation Vector and Magnetometer
	//Enables Rotation Vector
	BNO080_Initialization();
	BNO080_enableRotationVector(2500); //Send data update every 2.5ms (400Hz)
}

void HAL_UART_ErrorCallback(UART_HandleTypeDef *huart) {
//    errorCounter++;
	// try to clear all the UART status flags

	while( huart->Instance->SR &
	(UART_FLAG_CTS | UART_FLAG_LBD | UART_FLAG_RXNE |
	UART_FLAG_IDLE | UART_FLAG_ORE | UART_FLAG_NE | UART_FLAG_FE | UART_FLAG_PE)
	)
	{

	__HAL_UART_CLEAR_PEFLAG(huart);

	huart->Instance->SR &= ~(UART_FLAG_CTS|UART_FLAG_LBD|UART_FLAG_RXNE);

	}

//    uint32_t error = HAL_UART_GetError(huart);
//	if(huart->Instance == USART6)
//	{
//		HAL_UART_Receive_IT(huart, &uart6_rx_data, 1);
//	}

	HAL_UART_Receive_IT(huart, &uart6_rx_data, 1);

}
void HAL_UART_TxCpltCallback(UART_HandleTypeDef *huart)
{
	if(huart->Instance == USART6)
	{
		uart6_tx_flag = 0;
		sendDelayCnt = 0;
	}
}

void HAL_UART_RxCpltCallback(UART_HandleTypeDef *huart)
{
	//	static unsigned char cnt = 0;
	static uint8_t offset;
	static uint8_t dataSize;
	static uint8_t chksum;
	static enum _serial_state {
	   IDLE,
	   HEADER_START,
	   HEADER_M,
	   HEADER_ARROW,
	   HEADER_SIZE,
	   HEADER_CMD,
	 } c_state;// = IDLE;

	if(huart->Instance == USART6)
	{
//		uart2_rx_flag = 1;
//		LL_GPIO_TogglePin(GPIOC, LL_GPIO_PIN_13);
//		LL_GPIO_ResetOutputPin(GPIOC, LL_GPIO_PIN_13);
		recvDelayCnt = 0;

		// regular data handling to detect and handle MSP and other data
		switch(c_state)
		{
		case IDLE:
			  c_state = (uart6_rx_data=='$') ? HEADER_START : IDLE;
			  if (c_state == IDLE) evaluateOtherData(uart6_rx_data); // evaluate all other incoming serial data
			  break;
		case HEADER_START:
			  c_state = (uart6_rx_data=='M') ? HEADER_M : IDLE;
			  break;
		case HEADER_M:
			  c_state = (uart6_rx_data=='<') ? HEADER_ARROW : IDLE;
			  break;
		case HEADER_ARROW:
			  if (uart6_rx_data > 64) {	//INBUF_SIZE) {  // now we are expecting the payload size
				c_state = IDLE;
				return;	//continue;
			  }
			  dataSize = uart6_rx_data;
			  offset = 0;
			  chksum = 0;
			  indRX = 0;
			  chksum ^= uart6_rx_data;
			  c_state = HEADER_SIZE;  // the command is to follow
			  break;
		case HEADER_SIZE:
			  cmdMSP = uart6_rx_data;
			  chksum ^= uart6_rx_data;
			  c_state = HEADER_CMD;
			  break;
		case HEADER_CMD:
			if(offset < dataSize) {
			  chksum ^= uart6_rx_data;
			  inBuf[offset++] = uart6_rx_data;
			} else {
			  if (chksum == uart6_rx_data) {  // compare calculated and transferred checksum
				  msp_rx_cplt_flag = 1;
			  }
			  c_state = IDLE;
			}
			break;
		default:
			  c_state = IDLE;
			break;

		}
		if (HAL_UART_Receive_IT(&huart6, &uart6_rx_data, 1) != HAL_OK)
		{
			HAL_UART_Receive_IT(huart, &uart6_rx_data, 1);
			return;
		}

	}

}

/* USER CODE END 4 */

void Error_Handler(void)
{
}

/************************ (C) COPYRIGHT STMicroelectronics *****END OF FILE****/
